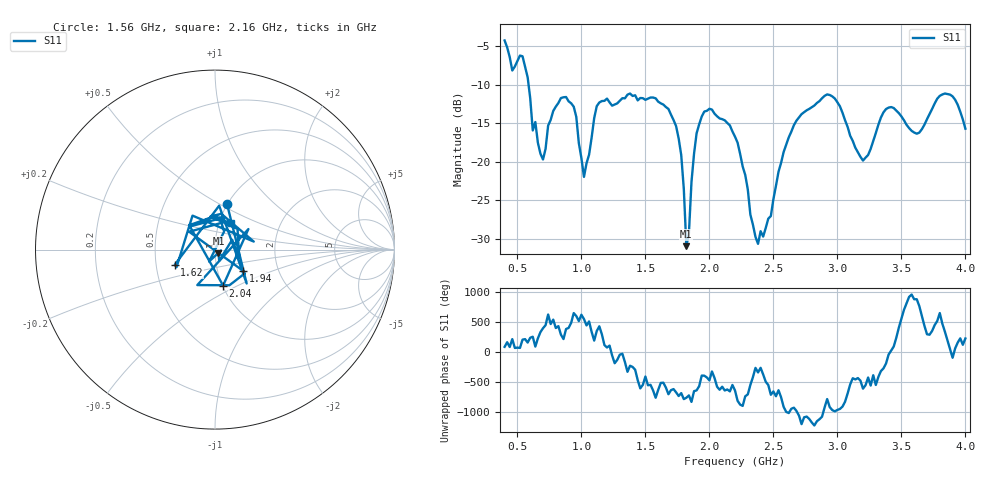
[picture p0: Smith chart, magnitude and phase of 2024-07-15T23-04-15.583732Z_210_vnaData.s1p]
!Created with skrf (http://scikit-rf.org).
# Hz S RI R 50.0
!freq ReS11 ImS11
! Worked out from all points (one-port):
!   181 points, 400 MHz to 4 GHz, reference 50 ohm
!   lowest |S11| = -31.0 dB at 1.82 GHz (marker M1), VSWR 1.06, Z = 51.9 - j2.14 ohm
!   |S11| at or under -10 dB: 587.3 MHz to end of sweep
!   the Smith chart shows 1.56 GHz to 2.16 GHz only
!   S11 on the Smith chart (normalised r, x): 1.56 GHz: 1.00, +0.54; 1.62 GHz: 0.63, -0.11; 1.94 GHz: 1.33, -0.33; 2.04 GHz: 1.01, -0.42; 2.16 GHz: 1.14, +0.35
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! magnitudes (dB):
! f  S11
! 400 MHz  -4.2
! 460 MHz  -8.1
! 540 MHz  -6.3
! 620 MHz  -15.9
! 700 MHz  -19.7
! 860 MHz  -11.6
! 940 MHz  -12.8
! 1.02 GHz  -22.0
! 1.12 GHz  -12.8
! 1.3 GHz  -12.1
! 1.56 GHz  -11.6
! 1.62 GHz  -12.4
! 1.76 GHz  -17.0
! 1.82 GHz  -31.0
! 1.88 GHz  -19.0
! 1.94 GHz  -14.1
! 2.04 GHz  -13.7
! 2.16 GHz  -15.3
! 2.2 GHz  -16.7
! 2.38 GHz  -30.7
! 2.66 GHz  -15.2
! 2.92 GHz  -11.2
! 3.1 GHz  -16.6
! 3.2 GHz  -19.8
! 3.38 GHz  -13.1
! 3.56 GHz  -15.6
! 3.84 GHz  -11.1
! 4 GHz  -15.7
